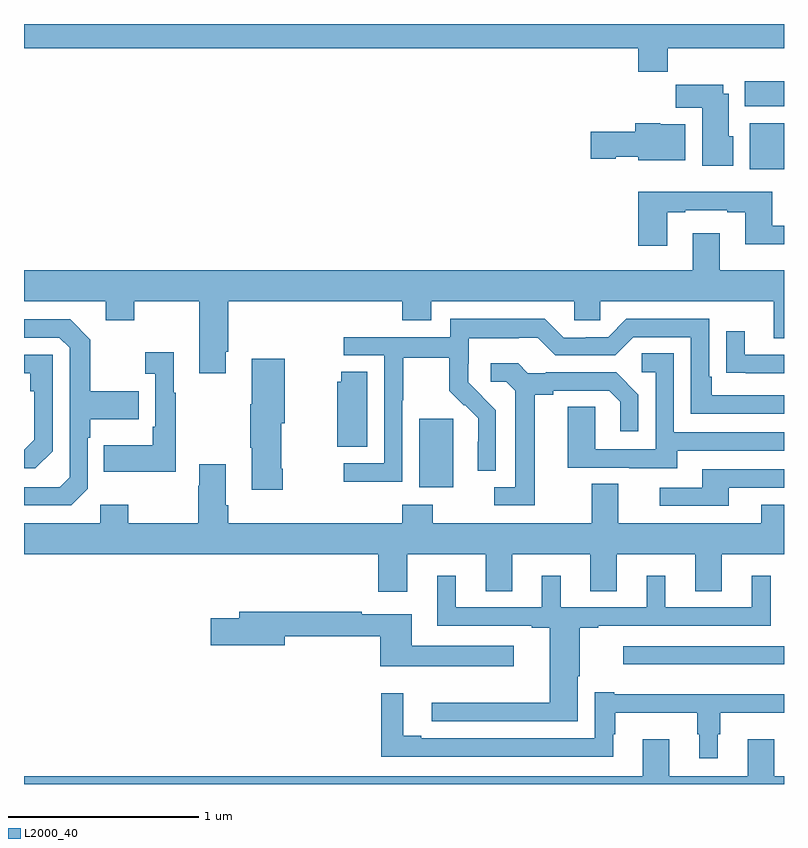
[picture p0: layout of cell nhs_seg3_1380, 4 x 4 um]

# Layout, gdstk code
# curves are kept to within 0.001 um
import gdstk
lib = gdstk.Library(unit=1e-6, precision=1e-09)
def R(c, l, rs):  # rectangles x0, y0, x1, y1
    for r in rs: c.add(gdstk.rectangle(r[:2], r[2:], *l))
def P(c, l, *ps):  # polygons
    for p in ps: c.add(gdstk.Polygon(p, *l))
L2000_40 = (2000, 40)

nhs_seg3_1380 = lib.new_cell('nhs_seg3_1380')
R(nhs_seg3_1380, L2000_40, [(186.153,675.029,187,675.126), (185.081,675.962,185.26,676.323), (186.821,677.636,187,677.878), (186.794,677.966,187,678.1)])
P(nhs_seg3_1380, L2000_40, [(186.389,678.272),(187,678.272),(187,678.4),(183,678.4),(183,678.272),(186.233,678.272),(186.233,678.148),(186.389,678.148)],
  [(186.733,677.808),(186.709,677.808),(186.709,678.034),(186.679,678.034),(186.679,678.079),(186.43,678.079),(186.43,677.96),(186.569,677.96),(186.569,677.654),(186.733,677.654)],
  [(186.481,677.872),(186.348,677.872),(186.348,677.878),(186.218,677.878),(186.218,677.832),(185.982,677.832),(185.982,677.69),(186.114,677.69),(186.114,677.702),(186.234,677.702),(186.234,677.684),(186.481,677.684)],
  [(186.385,677.409),(186.481,677.409),(186.481,677.421),(186.701,677.421),(186.701,677.409),(186.797,677.409),(186.797,677.24),(187,677.24),(187,677.337),(186.937,677.337),(186.937,677.518),(186.233,677.518),(186.233,677.232),(186.385,677.232)],
  [(186.661,677.299),(186.521,677.299),(186.521,677.104),(183,677.104),(183,676.94),(183.431,676.94),(183.431,676.841),(183.579,676.841),(183.579,676.94),(183.923,676.94),(183.923,676.563),(184.063,676.563),(184.063,676.675),(184.076,676.675),(184.076,676.94),(184.991,676.94),(184.991,676.841),(185.143,676.841),(185.143,676.94),(185.895,676.94),(185.895,676.842),(186.033,676.842),(186.033,676.94),(186.947,676.94),(186.947,676.746),(187,676.746),(187,677.104),(186.661,677.104)],
  [(184.992,676.42),(184.995,676.42),(184.995,676.644),(185.239,676.644),(185.239,676.469),(185.316,676.392),(185.319,676.395),(185.39,676.325),(185.39,676.202),(185.388,676.202),(185.388,676.048),(185.484,676.048),(185.484,676.366),(185.338,676.514),(185.338,676.611),(185.34,676.611),(185.34,676.745),(185.603,676.745),(185.603,676.749),(185.703,676.749),(185.796,676.656),(186.111,676.656),(186.207,676.752),(186.51,676.752),(186.51,676.35),(187,676.35),(187,676.446),(186.619,676.446),(186.619,676.543),(186.606,676.543),(186.606,676.848),(186.171,676.848),(186.075,676.752),(185.957,676.752),(185.957,676.749),(185.841,676.749),(185.741,676.849),(185.244,676.849),(185.244,676.752),(184.683,676.752),(184.683,676.656),(184.896,676.656),(184.896,676.089),(184.683,676.089),(184.683,675.991),(184.992,675.991)],
  [(183.336,675.954),(183.336,676.223),(183.349,676.223),(183.349,676.319),(183.605,676.319),(183.605,676.467),(183.349,676.467),(183.349,676.739),(183.243,676.845),(183,676.845),(183,676.749),(183.186,676.749),(183.24,676.695),(183.24,676.014),(183.189,675.963),(183,675.963),(183,675.867),(183.249,675.867)],
  [(187,676.659),(186.793,676.659),(186.793,676.783),(186.697,676.783),(186.697,676.564),(186.799,676.564),(186.799,676.563),(187,676.563)],
  [(183.799,676.459),(183.787,676.459),(183.787,676.672),(183.639,676.672),(183.639,676.559),(183.69,676.559),(183.69,676.279),(183.678,676.279),(183.678,676.183),(183.421,676.183),(183.421,676.043),(183.799,676.043)],
  [(186.439,676.155),(187,676.155),(187,676.251),(186.42,676.251),(186.42,676.667),(186.252,676.667),(186.252,676.566),(186.324,676.566),(186.324,676.161),(186.006,676.161),(186.006,676.385),(185.861,676.385),(185.861,676.065),(186.185,676.065),(186.185,676.061),(186.439,676.061)],
  [(183.15,676.152),(183.15,676.659),(183,676.659),(183,676.563),(183.034,676.563),(183.034,676.466),(183.054,676.466),(183.054,676.212),(183.001,676.159),(183,676.159),(183,676.062),(183.06,676.062)],
  [(184.362,676.06),(184.354,676.06),(184.354,676.299),(184.372,676.299),(184.372,676.639),(184.199,676.639),(184.199,676.399),(184.192,676.399),(184.192,676.171),(184.199,676.171),(184.199,675.948),(184.362,675.948)],
  [(185.689,676.448),(185.785,676.448),(185.785,676.47),(186.08,676.47),(186.137,676.413),(186.137,676.257),(186.234,676.257),(186.234,676.45),(186.118,676.566),(185.746,676.566),(185.746,676.563),(185.652,676.563),(185.6,676.615),(185.457,676.615),(185.457,676.518),(185.538,676.518),(185.585,676.471),(185.585,675.963),(185.475,675.963),(185.475,675.867),(185.689,675.867)],
  [(184.807,676.571),(184.669,676.571),(184.669,676.518),(184.649,676.518),(184.649,676.174),(184.807,676.174)],
  [(185.017,675.608),(185.429,675.608),(185.429,675.415),(185.569,675.415),(185.569,675.608),(185.981,675.608),(185.981,675.415),(186.121,675.415),(186.121,675.608),(186.533,675.608),(186.533,675.415),(186.673,675.415),(186.673,675.608),(187,675.608),(187,675.871),(186.881,675.871),(186.881,675.772),(186.127,675.772),(186.127,675.98),(185.987,675.98),(185.987,675.772),(185.151,675.772),(185.151,675.871),(184.991,675.871),(184.991,675.772),(184.076,675.772),(184.076,675.868),(184.063,675.868),(184.063,676.084),(183.923,676.084),(183.923,675.971),(183.916,675.971),(183.916,675.772),(183.549,675.772),(183.549,675.871),(183.402,675.871),(183.402,675.772),(183,675.772),(183,675.608),(184.865,675.608),(184.865,675.411),(185.017,675.411)],
  [(186.709,675.96),(187,675.96),(187,676.056),(186.569,676.056),(186.569,675.96),(186.345,675.96),(186.345,675.864),(186.709,675.864)],
  [(185.914,674.967),(185.926,674.967),(185.926,675.222),(186.022,675.222),(186.022,675.234),(186.929,675.234),(186.929,675.496),(186.83,675.496),(186.83,675.33),(186.376,675.33),(186.376,675.496),(186.278,675.496),(186.278,675.33),(185.824,675.33),(185.824,675.496),(185.726,675.496),(185.726,675.33),(185.272,675.33),(185.272,675.496),(185.174,675.496),(185.174,675.234),(185.672,675.234),(185.672,675.222),(185.768,675.222),(185.768,674.828),(185.145,674.828),(185.145,674.73),(185.914,674.73)],
  [(185.578,675.127),(185.041,675.127),(185.041,675.294),(184.778,675.294),(184.778,675.307),(184.133,675.307),(184.133,675.273),(183.984,675.273),(183.984,675.131),(184.372,675.131),(184.372,675.178),(184.874,675.178),(184.874,675.02),(185.578,675.02)],
  [(186.652,674.663),(186.664,674.663),(186.664,674.774),(187,674.774),(187,674.872),(186.106,674.872),(186.106,674.884),(186.003,674.884),(186.003,674.64),(185.092,674.64),(185.092,674.653),(184.996,674.653),(184.996,674.878),(184.879,674.878),(184.879,674.544),(186.1,674.544),(186.1,674.663),(186.112,674.663),(186.112,674.774),(186.543,674.774),(186.543,674.663),(186.554,674.663),(186.554,674.535),(186.652,674.535)],
  [(187,674.44),(186.949,674.44),(186.949,674.635),(186.809,674.635),(186.809,674.44),(186.397,674.44),(186.397,674.635),(186.257,674.635),(186.257,674.44),(183,674.44),(183,674.4),(187,674.4)])

lib.write_gds('nhs_seg3_1380.gds')
